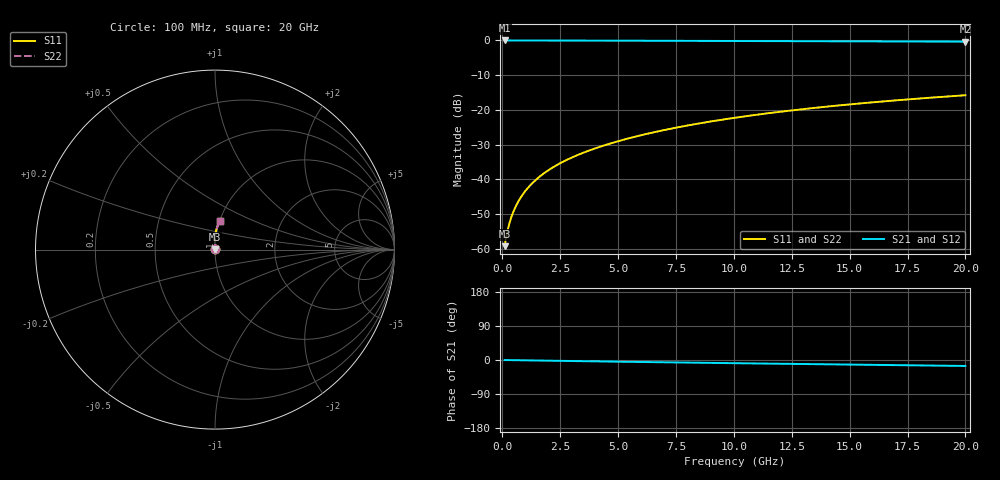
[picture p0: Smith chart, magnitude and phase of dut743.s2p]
! Touchstone file exported from HFSS 2024.1.0
!  File:  C:/UserFiles/LocalFiles/RDL_TSV_Batchsim/temp_RDL_top_743_1779851511.aedt
!  Generated:  11:14:02 AM May 27, 2026
!  Design:  RDL_top
!  Project:  temp_RDL_top_743_1779851511
!  Setup:  Setup1
!  Solution:  Sweep
! Variables:
!  dtsv = 10.80580581um
!  hbump = 3um
!  htsv = 94.45um
!  ldown = 100um
!  lrdl = 197.97um
!  p = 40
!  p1 = 52.42um
!  rhole = 1um
!  t = 450um
!  tdown = 3.915915916um
!  trdl = 4.53um
!  wdown = 15.38538539um
!  wrdl = 25.08um
# GHz S MA R 50.000000
! Terminal data exported
! Port[1] = Box2_T1
! Port[2] = Box2_T2
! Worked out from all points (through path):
!   200 points, 100 MHz to 20 GHz, reference 50 ohm
!   highest |S21| = -0.01 dB at 100 MHz (marker M1); lowest = -0.4 dB at 20 GHz (marker M2)
!   group delay of S21, straight-line fit = 2.15 ps
!   lowest |S11| = -59.2 dB at 100 MHz (marker M3), VSWR 1.00, Z = 50.1 + j0.0744 ohm
!   |S11| at or under -10 dB: start of sweep to end of sweep
!   |S22| runs from -59.2 to -15.8 dB; largest |S21 - S12| = 5.2e-15
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0.1  0.001092 42.9  0.9992 -0.1  0.9992 -0.1  0.001092 42.9
! Gamma 0 0 0 0
! Port Impedance 50 0 50 0
0.2  0.001673 59.5  0.9991 -0.2  0.9991 -0.2  0.001673 59.5
0.3  0.002289 67.3  0.9991 -0.3  0.9991 -0.3  0.002289 67.3
0.4  0.002917 72.0  0.999 -0.4  0.999 -0.4  0.002917 72.0
0.5  0.003555 75.2  0.999 -0.5  0.999 -0.5  0.003555 75.2
0.6  0.0042 77.5  0.9989 -0.6  0.9989 -0.6  0.0042 77.5
0.8  0.005508 80.7  0.9988 -0.7  0.9988 -0.7  0.005508 80.7
1.1  0.007498 83.5  0.9986 -1.0  0.9986 -1.0  0.007498 83.5
1.5  0.01019 85.7  0.9982 -1.4  0.9982 -1.4  0.01019 85.7
1.8  0.01223 86.8  0.9979 -1.7  0.9979 -1.7  0.01223 86.8
2.1  0.01428 87.7  0.9975 -1.9  0.9975 -1.9  0.01428 87.7
2.7  0.01846 88.9  0.9967 -2.5  0.9967 -2.5  0.01846 88.9
3.5  0.02418 89.9  0.9953 -3.2  0.9953 -3.2  0.02418 89.9
4.2  0.02933 90.5  0.9939 -3.8  0.9939 -3.8  0.02933 90.5
5  0.03539 90.9  0.9922 -4.5  0.9922 -4.5  0.03539 90.9
6.8  0.04969 91.0  0.988 -5.9  0.988 -5.9  0.04969 91.0
8.4  0.063 90.4  0.9843 -7.2  0.9843 -7.2  0.063 90.4
10.1  0.07752 89.3  0.9805 -8.5  0.9805 -8.5  0.07752 89.3
11.7  0.09137 88.1  0.977 -9.7  0.977 -9.7  0.09137 88.1
13.4  0.1061 86.6  0.9735 -10.9  0.9735 -10.9  0.1061 86.6
16.7  0.1346 83.6  0.9668 -13.3  0.9668 -13.3  0.1346 83.6
20  0.1626 80.6  0.9601 -15.7  0.9601 -15.7  0.1626 80.6
